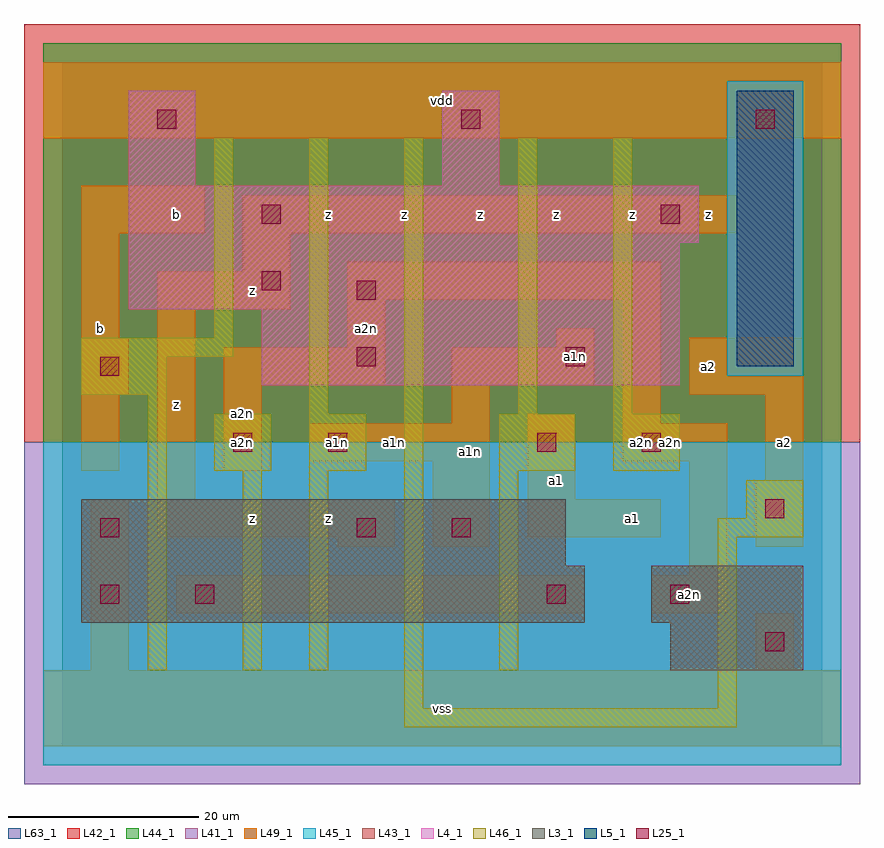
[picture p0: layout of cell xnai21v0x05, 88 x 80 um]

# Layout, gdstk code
import gdstk
lib = gdstk.Library(unit=1e-6, precision=1e-09)
def R(c, l, rs):  # rectangles x0, y0, x1, y1
    for r in rs: c.add(gdstk.rectangle(r[:2], r[2:], *l))
L3_1 = (3, 1)
L4_1 = (4, 1)
L5_1 = (5, 1)
L25_1 = (25, 1)
L41_1 = (41, 1)
L42_1 = (42, 1)
L43_1 = (43, 1)
L44_1 = (44, 1)
L45_1 = (45, 1)
L46_1 = (46, 1)
L49_1 = (49, 1)
L63_1 = (63, 1)

xnai21v0x05 = lib.new_cell('xnai21v0x05')
R(xnai21v0x05, L3_1, [(64,8,78,13), (2,13,55,19), (62,13,78,19), (2,19,53,26)])
R(xnai21v0x05, L4_1, [(21,38,65,46), (7,46,65,53), (7,53,67,59), (7,59,14,69), (40,59,46,69)])
R(xnai21v0x05, L5_1, [(71,40,77,69)])
R(xnai21v0x05, L25_1, [(74,10,76,12), (4,15,6,17), (14,15,16,17), (51,15,53,17), (64,15,66,17), (4,22,6,24), (31,22,33,24), (41,22,43,24), (74,24,76,26), (18,31,20,33), (28,31,30,33), (50,31,52,33), (61,31,63,33), (4,39,6,41), (31,40,33,42), (53,40,55,42), (31,47,33,49), (21,48,23,50), (21,55,23,57), (63,55,65,57), (10,65,12,67), (42,65,44,67), (73,65,75,67)])
R(xnai21v0x05, L41_1, [(-4,-4,84,32)])
R(xnai21v0x05, L42_1, [(-4,32,84,76)])
R(xnai21v0x05, L43_1, [(64,8,78,13), (2,13,55,19), (62,13,78,19), (2,19,53,26), (21,38,65,46), (71,40,77,69), (7,46,65,53), (7,53,67,59), (7,59,14,69), (40,59,46,69)])
R(xnai21v0x05, L44_1, [(-2,32,82,39), (-2,39,70,70), (78,39,82,70), (-2,70,82,74)])
R(xnai21v0x05, L45_1, [(-2,-2,82,32), (70,39,78,70)])
R(xnai21v0x05, L46_1, [(36,2,71,4), (36,4,38,64), (69,4,71,22), (9,8,11,37), (19,8,21,29), (26,8,28,29), (46,8,48,29), (69,22,78,24), (72,24,78,28), (16,29,22,35), (26,29,32,35), (46,29,54,35), (58,29,65,35), (26,35,28,64), (48,35,50,64), (58,35,60,64), (2,37,11,41), (2,41,18,43), (16,43,18,64)])
R(xnai21v0x05, L49_1, [(-2,0,82,8), (3,8,7,26), (73,8,77,14), (12,14,55,18), (62,14,70,18), (66,18,70,30), (29,21,35,22), (39,21,45,30), (73,21,78,28), (10,22,35,26), (49,22,63,26), (10,26,14,46), (49,26,54,35), (74,28,78,37), (2,29,6,37), (17,29,21,38), (26,30,45,34), (59,30,70,34), (41,34,45,38), (59,34,63,47), (2,37,7,43), (66,37,78,43), (17,38,34,42), (41,38,56,42), (30,42,34,47), (52,42,56,44), (2,43,6,54), (10,46,24,50), (30,47,63,51), (19,50,24,54), (2,54,15,59), (19,54,71,58), (-2,64,82,72)])
R(xnai21v0x05, L63_1, [(0,0,80,72)])
xnai21v0x05.add(gdstk.Label('a2n', (19,32), layer=49, texttype=1))
xnai21v0x05.add(gdstk.Label('a1n', (29,32), layer=49, texttype=1))
xnai21v0x05.add(gdstk.Label('a2n', (61,32), layer=49, texttype=1))
xnai21v0x05.add(gdstk.Label('b', (4,44), layer=49, texttype=1))
xnai21v0x05.add(gdstk.Label('z', (20,24), layer=49, texttype=1))
xnai21v0x05.add(gdstk.Label('z', (28,24), layer=49, texttype=1))
xnai21v0x05.add(gdstk.Label('a2n', (19,35), layer=49, texttype=1))
xnai21v0x05.add(gdstk.Label('z', (12,36), layer=49, texttype=1))
xnai21v0x05.add(gdstk.Label('z', (20,48), layer=49, texttype=1))
xnai21v0x05.add(gdstk.Label('z', (28,56), layer=49, texttype=1))
xnai21v0x05.add(gdstk.Label('b', (12,56), layer=49, texttype=1))
xnai21v0x05.add(gdstk.Label('vss', (40,4), layer=49, texttype=1))
xnai21v0x05.add(gdstk.Label('a1n', (43,31), layer=49, texttype=1))
xnai21v0x05.add(gdstk.Label('a1n', (35,32), layer=49, texttype=1))
xnai21v0x05.add(gdstk.Label('a2n', (32,44), layer=49, texttype=1))
xnai21v0x05.add(gdstk.Label('z', (44,56), layer=49, texttype=1))
xnai21v0x05.add(gdstk.Label('z', (36,56), layer=49, texttype=1))
xnai21v0x05.add(gdstk.Label('vdd', (40,68), layer=49, texttype=1))
xnai21v0x05.add(gdstk.Label('a1', (60,24), layer=49, texttype=1))
xnai21v0x05.add(gdstk.Label('a1', (52,28), layer=49, texttype=1))
xnai21v0x05.add(gdstk.Label('a1n', (54,41), layer=49, texttype=1))
xnai21v0x05.add(gdstk.Label('z', (60,56), layer=49, texttype=1))
xnai21v0x05.add(gdstk.Label('z', (52,56), layer=49, texttype=1))
xnai21v0x05.add(gdstk.Label('a2n', (66,16), layer=49, texttype=1))
xnai21v0x05.add(gdstk.Label('a2', (76,32), layer=49, texttype=1))
xnai21v0x05.add(gdstk.Label('a2n', (64,32), layer=49, texttype=1))
xnai21v0x05.add(gdstk.Label('a2', (68,40), layer=49, texttype=1))
xnai21v0x05.add(gdstk.Label('z', (68,56), layer=49, texttype=1))

lib.write_gds('xnai21v0x05.gds')
